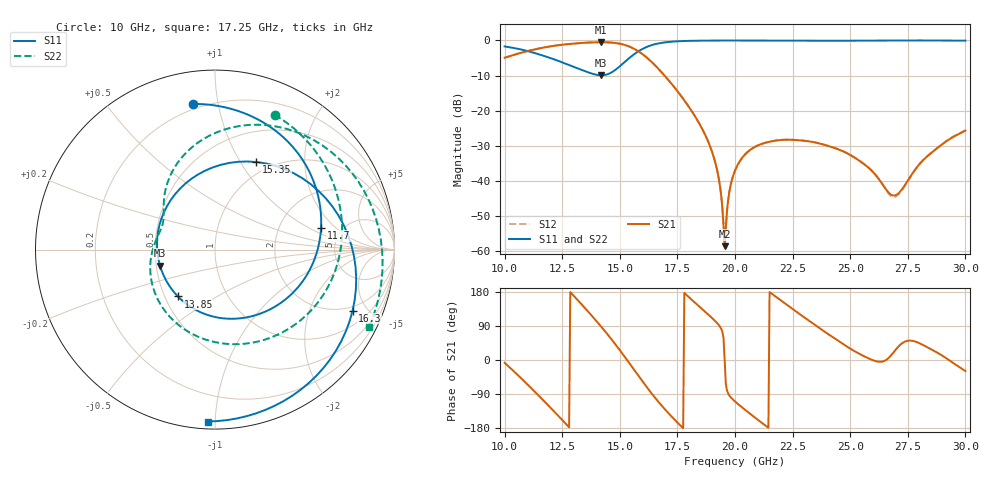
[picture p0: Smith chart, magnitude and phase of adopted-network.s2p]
! Both ports independently excited
# Hz S RI R 50
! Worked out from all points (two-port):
!   401 points, 10 GHz to 30 GHz, reference 50 ohm
!   highest |S21| = -0.53 dB at 14.2 GHz (marker M1); lowest = -58.5 dB at 19.55 GHz (marker M2)
!   |S21| within 3 dB of the highest: 10.71 GHz to 15.9 GHz (5.193 GHz wide, 39 % of centre)
!   lowest |S11| = -9.9 dB at 14.2 GHz (marker M3), VSWR 1.94, Z = 26.2 - j5.17 ohm
!   |S11| at or under -10 dB: nowhere
!   |S22| runs from -9.8 to 0.0 dB; largest |S21 - S12| = 0.00074
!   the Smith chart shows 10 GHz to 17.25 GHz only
!   S11 on the Smith chart (normalised r, x): 10 GHz: 0.17, +0.84; 11.7 GHz: 3.50, +1.32; 13.85 GHz: 0.58, -0.34; 15.35 GHz: 0.85, +1.18; 16.3 GHz: 1.75, -4.00; 17.25 GHz: 0.04, -0.96
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1e10  -0.1236 0.8115  0.562 -0.0726  0.5621 -0.0724  0.3316 0.7513
1.085e10  0.4069 0.6006  0.3836 -0.5682  0.3833 -0.5682  0.7071 0.1501
1.17e10  0.5909 0.1203  -0.2396 -0.7546  -0.2397 -0.7546  0.41 -0.4414
1.26e10  0.3703 -0.2943  -0.8433 -0.2315  -0.8431 -0.2315  -0.1719 -0.443
1.335e10  0.0199 -0.3794  -0.7654 0.5096  -0.7654 0.5096  -0.3602 -0.1255
1.385e10  -0.2068 -0.2608  -0.3549 0.8671  -0.3549 0.8669  -0.3325 0.043
1.42e10  -0.3066 -0.0887  0.0419 0.9402  0.0417 0.9401  -0.2996 0.1178
1.535e10  0.2311 0.488  0.831 -0.0439  0.8311 -0.0438  -0.1849 0.5137
1.63e10  0.7666 -0.3398  0.0734 -0.5178  0.0734 -0.5181  0.6439 0.5471
1.67e10  0.5222 -0.7436  -0.1454 -0.3585  -0.1455 -0.3588  0.897 0.1718
1.725e10  -0.0368 -0.9578  -0.2071 -0.1228  -0.2073 -0.123  0.8577 -0.431
1.83e10  -0.8746 -0.4619  -0.0685 0.0409  -0.0686 0.0411  0.0104 -0.9862
1.91e10  -0.9716 0.2147  -0.0054 0.0199  -0.00529 0.0202  -0.6591 -0.7404
1.955e10  -0.8246 0.5584  0.00119 4.45e-05  0.00139 0.000147  -0.8932 -0.433
2e10  -0.5672 0.8189  -0.00471 -0.0133  -0.0045 -0.0133  -0.9911 -0.0711
2.085e10  0.081 0.9918  -0.0267 -0.0147  -0.0266 -0.0149  -0.8071 0.5814
2.175e10  0.7125 0.6908  -0.0368 0.00787  -0.0369 0.00764  -0.2248 0.9681
2.335e10  0.8679 -0.4717  -0.00474 0.0358  -0.00494 0.036  0.8475 0.5093
2.495e10  -0.1722 -0.9739  0.0204 0.0127  0.0206 0.0128  0.7531 -0.6337
2.67e10  -0.9942 -0.0513  0.00666 0.000849  0.00644 0.000583  -0.4362 -0.8848
2.845e10  -0.2716 0.9596  0.0208 0.0122  0.0208 0.0126  -0.973 0.192
3e10  0.7965 0.5889  0.0456 -0.0254  0.046 -0.0256  -0.2144 0.9669
